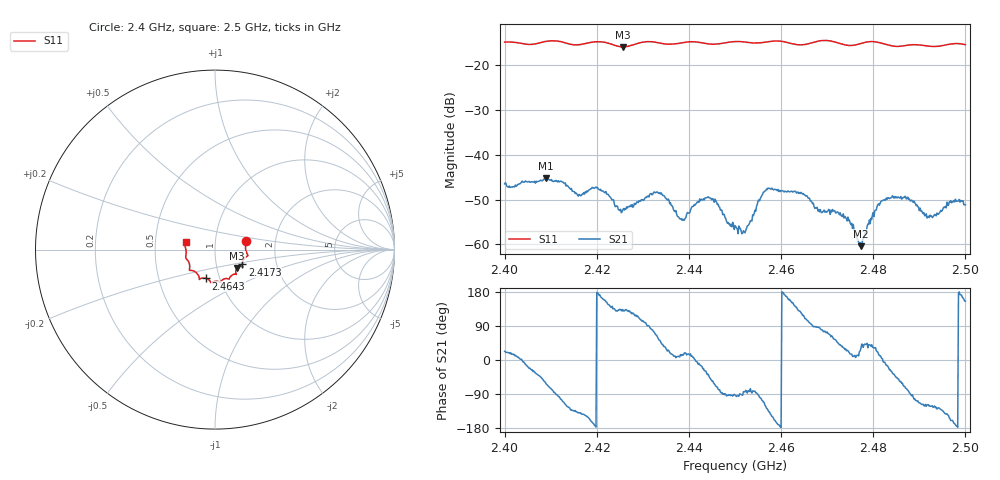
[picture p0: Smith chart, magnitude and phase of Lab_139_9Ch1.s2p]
# Hz S RI R 50
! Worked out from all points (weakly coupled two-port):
!   601 points, 2.4 GHz to 2.5 GHz, reference 50 ohm
!   highest |S21| = -45.30 dB at 2.409 GHz (marker M1); lowest = -60.4 dB at 2.4773 GHz (marker M2)
!   lowest |S11| = -15.9 dB at 2.4257 GHz (marker M3), VSWR 1.38, Z = 62.4 - j13.1 ohm
!   |S11| at or under -10 dB: start of sweep to end of sweep
!   S12 and S22 are empty: the file has one direction only
!   S11 on the Smith chart (normalised r, x): 2.4 GHz: 1.41, +0.15; 2.4173 GHz: 1.34, -0.23; 2.4643 GHz: 0.86, -0.28; 2.5 GHz: 0.72, +0.06
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2.4e9  0.1734 0.0497  0.00436 0.00185  0 0  0 0
2.409e9  0.1815 -0.0284  0.00247 -0.00484  0 0  0 0
2.416667e9  0.1529 -0.0748  -0.0028 -0.00214  0 0  0 0
2.417333e9  0.1523 -0.0824  -0.00298 -0.00209  0 0  0 0
2.420333e9  0.1546 -0.0971  -0.00414 0.000348  0 0  0 0
2.425667e9  0.1226 -0.1022  -0.00153 0.00189  0 0  0 0
2.433333e9  0.1127 -0.1368  0.00208 0.00312  0 0  0 0
2.4385e9  0.0818 -0.1572  0.0018 0.000464  0 0  0 0
2.444667e9  0.0581 -0.1612  0.00213 -0.00246  0 0  0 0
2.45e9  0.0295 -0.1808  -6.67e-05 -0.00161  0 0  0 0
2.452e9  0.0231 -0.1795  0.000152 -0.00137  0 0  0 0
2.457e9  -0.0136 -0.1811  -0.00256 -0.00319  0 0  0 0
2.464333e9  -0.0503 -0.1605  -0.00215 0.00314  0 0  0 0
2.466667e9  -0.0764 -0.1597  -0.000164 0.00296  0 0  0 0
2.474333e9  -0.1005 -0.1325  0.00165 0.000787  0 0  0 0
2.477333e9  -0.13 -0.1164  0.000818 0.000494  0 0  0 0
2.480833e9  -0.1427 -0.1104  0.00246 0.000991  0 0  0 0
2.483333e9  -0.1409 -0.0895  0.0031 -0.00116  0 0  0 0
2.487333e9  -0.1574 -0.0544  0.000698 -0.00318  0 0  0 0
2.492167e9  -0.1607 -0.0235  -0.00105 -0.00169  0 0  0 0
2.497e9  -0.1704 0.0267  -0.00273 -0.00102  0 0  0 0
2.5e9  -0.1637 0.042  -0.00251 0.00116  0 0  0 0
